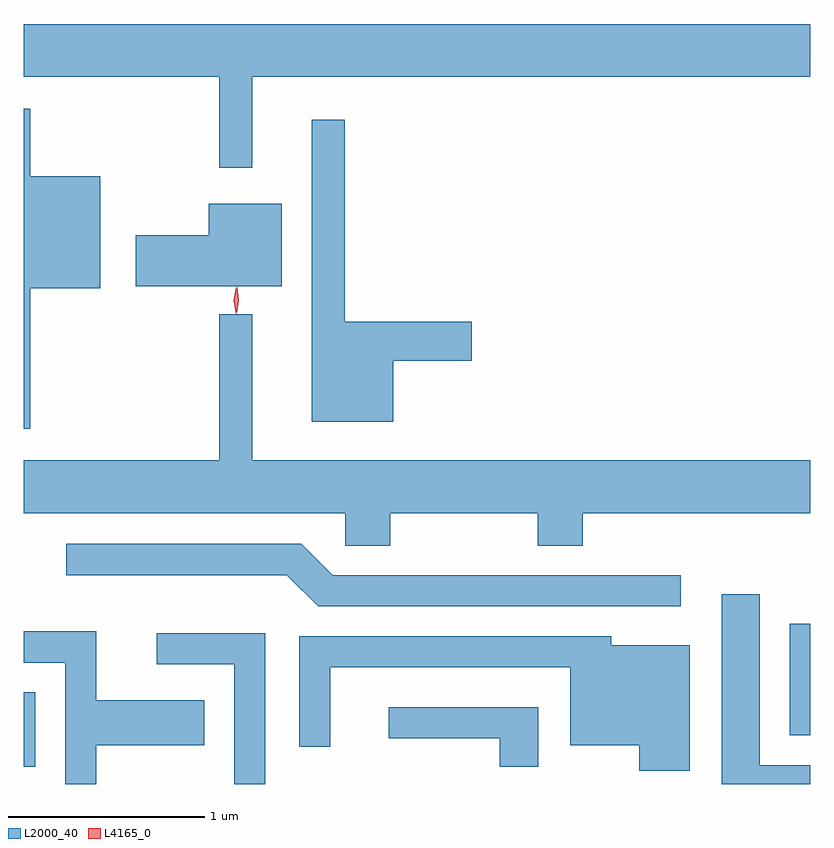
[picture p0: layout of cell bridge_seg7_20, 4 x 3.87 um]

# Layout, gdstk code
import gdstk
lib = gdstk.Library(unit=1e-6, precision=1e-09)
def R(c, l, rs):  # rectangles x0, y0, x1, y1
    for r in rs: c.add(gdstk.rectangle(r[:2], r[2:], *l))
def P(c, l, *ps):  # polygons
    for p in ps: c.add(gdstk.Polygon(p, *l))
L2000_40 = (2000, 40)
L4165_0 = (4165, 0)

bridge_seg7_20 = lib.new_cell('bridge_seg7_20')
R(bridge_seg7_20, L2000_40, [(1719.146,1788.506,1719.204,1788.884), (1723.041,1788.666,1723.146,1789.234)])
P(bridge_seg7_20, L2000_40, [(1720.309,1792.016),(1723.146,1792.016),(1723.146,1792.284),(1719.146,1792.284),(1719.146,1792.016),(1720.141,1792.016),(1720.141,1791.553),(1720.309,1791.553)],
  [(1719.179,1790.941),(1719.534,1790.941),(1719.534,1791.509),(1719.179,1791.509),(1719.179,1791.854),(1719.146,1791.854),(1719.146,1790.226),(1719.179,1790.226)],
  [(1721.024,1790.571),(1721.424,1790.571),(1721.424,1790.769),(1720.779,1790.769),(1720.779,1791.798),(1720.611,1791.798),(1720.611,1790.261),(1721.024,1790.261)],
  [(1720.459,1791.369),(1720.086,1791.369),(1720.086,1791.209),(1719.716,1791.209),(1719.716,1790.951),(1720.459,1790.951)],
  [(1721.009,1789.796),(1721.761,1789.796),(1721.761,1789.631),(1721.989,1789.631),(1721.989,1789.796),(1723.146,1789.796),(1723.146,1790.064),(1720.309,1790.064),(1720.309,1790.808),(1720.141,1790.808),(1720.141,1790.064),(1719.146,1790.064),(1719.146,1789.796),(1720.781,1789.796),(1720.781,1789.631),(1721.009,1789.631)],
  [(1722.488,1789.479),(1720.717,1789.479),(1720.557,1789.639),(1719.363,1789.639),(1719.363,1789.481),(1720.484,1789.481),(1720.644,1789.321),(1722.488,1789.321)],
  [(1723.146,1788.514),(1722.889,1788.514),(1722.889,1789.384),(1722.696,1789.384),(1722.696,1788.418),(1723.146,1788.418)],
  [(1719.514,1788.616),(1720.064,1788.616),(1720.064,1788.844),(1719.514,1788.844),(1719.514,1789.194),(1719.146,1789.194),(1719.146,1789.036),(1719.356,1789.036),(1719.356,1788.418),(1719.514,1788.418)],
  [(1720.374,1789.184),(1719.823,1789.184),(1719.823,1789.026),(1720.216,1789.026),(1720.216,1788.418),(1720.374,1788.418)],
  [(1722.534,1789.124),(1722.134,1789.124),(1722.134,1789.169),(1720.546,1789.169),(1720.546,1788.608),(1720.704,1788.608),(1720.704,1789.011),(1721.926,1789.011),(1721.926,1788.616),(1722.276,1788.616),(1722.276,1788.486),(1722.534,1788.486)],
  [(1721.764,1788.809),(1721.003,1788.809),(1721.003,1788.651),(1721.566,1788.651),(1721.566,1788.506),(1721.764,1788.506)])
P(bridge_seg7_20, L4165_0, [(1720.228,1790.81),(1720.22,1790.878),(1720.23,1790.945),(1720.231,1790.946),(1720.231,1790.945),(1720.24,1790.878),(1720.23,1790.81),(1720.229,1790.81)],
  [(1720.224,1790.813),(1720.223,1790.814),(1720.213,1790.876),(1720.223,1790.939),(1720.223,1790.94),(1720.224,1790.939),(1720.233,1790.877),(1720.224,1790.814)])

lib.write_gds('bridge_seg7_20.gds')
